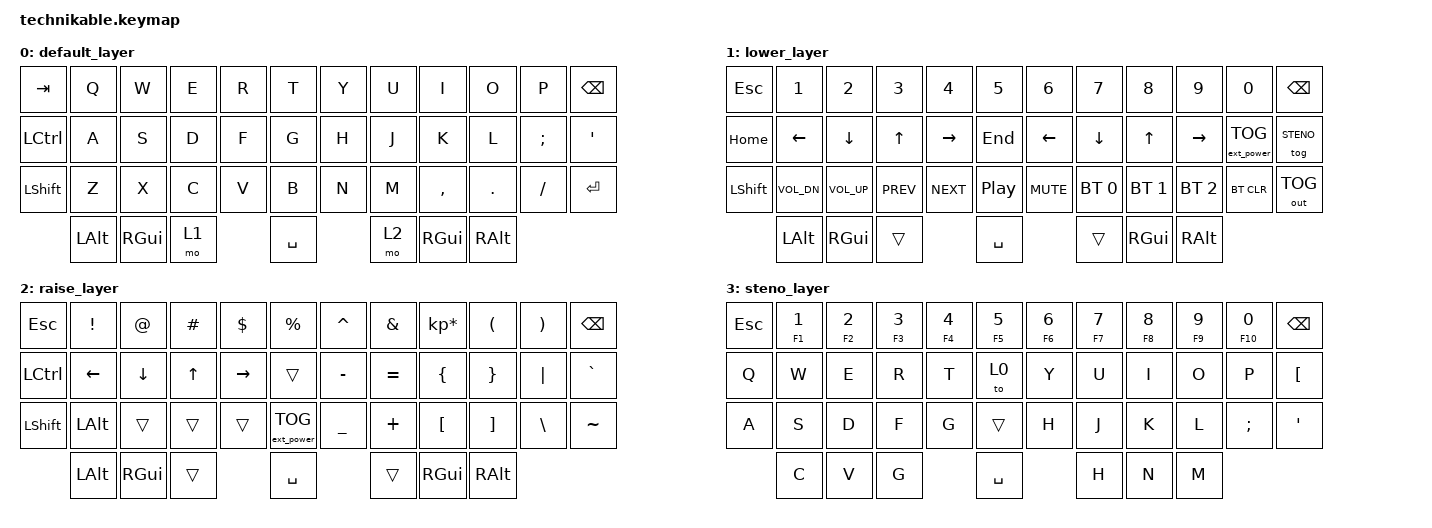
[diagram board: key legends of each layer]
/*
 * Copyright (c) 2022 Pete Johanson
 *
 * SPDX-License-Identifier: MIT
 */

#include <behaviors.dtsi>
#include <dt-bindings/zmk/keys.h>
#include <dt-bindings/zmk/bt.h>
#include <dt-bindings/zmk/ext_power.h>
#include <dt-bindings/zmk/outputs.h>

#define DEFAULT 0
#define LOWER   1
#define RAISE   2
#define STENO   3

&mt {
    tapping-term-ms = <1000>;
};

/ {
        chosen {
                zmk,matrix_transform = &mit_transform;
        };

        keymap {
                compatible = "zmk,keymap";

                default_layer {
// -----------------------------------------------------------------------------------------
// |  TAB |  Q  |  W  |  E  |  R  |  T  |   |  Y  |  U   |  I  |  O  |  P  | BKSP |
// | CTRL |  A  |  S  |  D  |  F  |  G  |   |  H  |  J   |  K  |  L  |  ;  |  '   |
// | SHFT |  Z  |  X  |  C  |  V  |  B  |   |  N  |  M   |  ,  |  .  |  /  | RET |
//                    | ALT | GUI | LWR |SPC| RSE | GUI  | ALT |
                        bindings = <
   &kp TAB   &kp Q &kp W &kp E &kp R &kp T     &kp Y &kp U  &kp I     &kp O   &kp P    &kp BSPC
   &kp LCTRL &kp A &kp S &kp D &kp F &kp G     &kp H &kp J  &kp K     &kp L   &kp SEMI &kp SQT
   &kp LSHFT &kp Z &kp X &kp C &kp V &kp B     &kp N &kp M  &kp COMMA &kp DOT &kp FSLH &kp RET
          &kp LALT &kp RGUI &mo 1      &kp SPACE   &mo 2 &kp RGUI &kp RALT
                        >;
                };
                lower_layer {
// -----------------------------------------------------------------------------------------
// | ESC |  1  |  2  |  3  |  4  |  5  |   |  6  |  7   |  8  |  9  |  0  | BKSP |
// | HOME | LFT | DWN |  UP | RGT | END   |       |  LFT  |  DWN  |   UP  |  RGT  |  EP_TOG | STENO|
// | SHFT |VOLDN|VOLUP| PREV| NEXT| PL_PS |       |  MUTE |  BT1  |  BT2  |  BT3  | BTCLR   | OUTTG|
//                    | ALT | GUI |       |  SPC  |       |  ALT  |  GUI  | 
                         bindings = <
   &kp ESC &kp N1 &kp N2 &kp N3 &kp N4 &kp N5     &kp N6    &kp N7 &kp N8    &kp N9  &kp N0   &kp BSPC
   &kp HOME   &kp LEFT     &kp DOWN     &kp UP      &kp RIGHT  &kp END        &kp LEFT   &kp DOWN &kp UP &kp RIGHT    &ext_power EP_TOG       &tog STENO
   &kp LSHFT  &kp C_VOL_DN &kp C_VOL_UP &kp C_PREV  &kp C_NEXT &kp C_PP       &kp K_MUTE &bt BT_SEL 0 &bt BT_SEL 1 &bt BT_SEL 2  &bt BT_CLR  &out OUT_TOG 
                         &kp LALT &kp RGUI &trans   &kp SPACE  &trans &kp RGUI &kp RALT      
                        >;
                };

                raise_layer {
// -----------------------------------------------------------------------------------------
// |  ESC |  !  |  @   |  #  |  $  |  %   |   |  ^  |  &  |  *  |  (  |  )  | BKSP |
// | CTRL | LFT | DWN  |  UP | RGT |      |   |  -  |  =  |  {  |  }  | "|" |  `   |
// | SHFT | ALT |      |     |     |EP_TOG|   |  _  |  +  |  [  |  ]  |  \  |  ~   | 
//                     | ALT | GUI |      |SPC|     | ALT | GUI |      
                        bindings = <
   &kp  ESC  &kp EXCL       &kp AT          &kp HASH  &kp DLLR   &kp PRCNT                &kp CARET  &kp AMPS  &kp KP_MULTIPLY  &kp LPAR &kp RPAR &kp BSPC
   &kp LCTRL &kp LEFT       &kp DOWN        &kp UP    &kp RIGHT  &trans                   &kp MINUS  &kp EQUAL &kp LBRC         &kp RBRC &kp PIPE &kp GRAVE
   &kp LSHFT &kp LALT       &trans          &trans    &trans     &ext_power EP_TOG        &kp UNDER  &kp PLUS  &kp LBKT         &kp RBKT &kp BSLH &kp TILDE
                                                      &kp LALT &kp RGUI &trans   &kp SPACE  &trans &kp RGUI &kp RALT         

                        >;
                };
                steno_layer {
// -----------------------------------------------------------------------------------------
// |  ESC |  F/1  |  F/2  |  F/3  |  F/4  |  F/5  |  F/6  |  F/7  |  F/8  |  F/9  |  F10/0  | BKSP |
// |  Q  |  W  |  E  |  R  |  T  | T_0 |   |  Y  |  U   |  I  |  O  |  P  |  [   |
// |  A  |  S  |  D  |  F  |  G  |     |   |  H  |  J   |  K  |  L  |  ;  |  '   |
//                   |  C  |  V  |  G  |   |  H  |  N   |  M  |
                        bindings = <
   &kp ESC    &mt F1 N1       &mt F2 N2       &mt F3 N3      &mt F4 N4     &mt F5 N5         &mt F6 N6     &mt F7 N7   &mt F8 N8 &mt F9 N9       &mt F10 N0      &kp BSPC
   &kp Q   &kp W  &kp E  &kp R  &kp T  &to 0      &kp Y     &kp U  &kp I     &kp O   &kp P    &kp LBKT
   &kp A   &kp S  &kp D  &kp F  &kp G  &trans     &kp H     &kp J  &kp K     &kp L   &kp SEMI &kp SQT
                         &kp C  &kp V  &kp G   &kp SPACE   &kp H     &kp N  &kp M
                        >;
                };
        };
};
